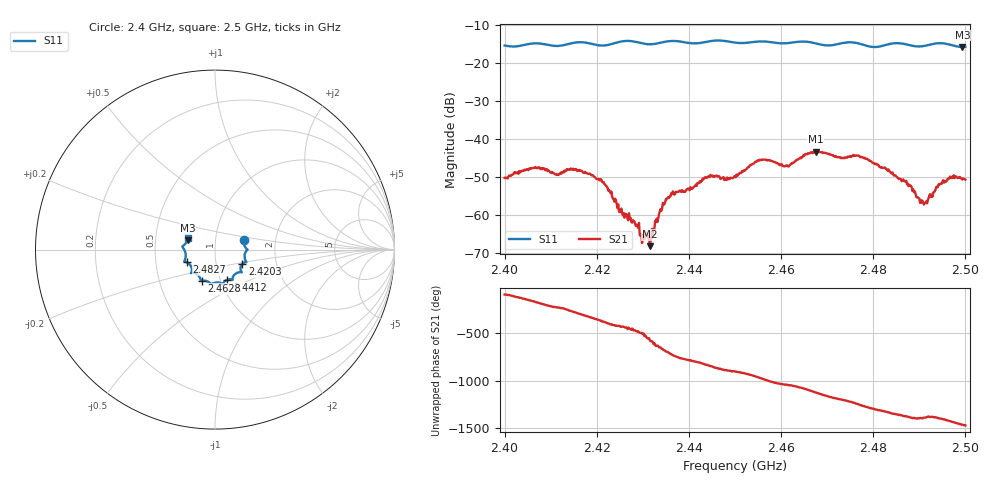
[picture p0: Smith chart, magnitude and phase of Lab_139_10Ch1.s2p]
# Hz S RI R 50
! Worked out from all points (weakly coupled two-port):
!   601 points, 2.4 GHz to 2.5 GHz, reference 50 ohm
!   highest |S21| = -43.27 dB at 2.4675 GHz (marker M1); lowest = -68.1 dB at 2.4315 GHz (marker M2)
!   lowest |S11| = -15.8 dB at 2.4993 GHz (marker M3), VSWR 1.39, Z = 36.5 + j4.06 ohm
!   |S11| at or under -10 dB: start of sweep to end of sweep
!   S12 and S22 are empty: the file has one direction only
!   S11 on the Smith chart (normalised r, x): 2.4 GHz: 1.38, +0.15; 2.4203 GHz: 1.34, -0.22; 2.4412 GHz: 1.08, -0.37; 2.4628 GHz: 0.82, -0.29; 2.4827 GHz: 0.72, -0.10; 2.5 GHz: 0.73, +0.10
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2.4e9  0.1614 0.0536  -0.00011 -0.00309  0 0  0 0
2.406333e9  0.1814 0.000613  -0.004 -0.00119  0 0  0 0
2.416667e9  0.1745 -0.0696  0.00192 0.0033  0 0  0 0
2.420333e9  0.152 -0.0788  0.00301 9.74e-05  0 0  0 0
2.429833e9  0.1303 -0.127  -0.000336 -0.000269  0 0  0 0
2.4315e9  0.1122 -0.1363  -0.000337 0.000201  0 0  0 0
2.433333e9  0.0998 -0.1523  2.99e-05 0.000895  0 0  0 0
2.436167e9  0.0981 -0.1685  0.00194 7.89e-05  0 0  0 0
2.441167e9  0.0687 -0.1676  0.00057 -0.00232  0 0  0 0
2.444667e9  0.0448 -0.1893  -0.00189 -0.00282  0 0  0 0
2.45e9  0.0248 -0.1842  -0.00329 9.04e-05  0 0  0 0
2.455333e9  -0.0174 -0.1916  -0.00203 0.00495  0 0  0 0
2.462833e9  -0.0718 -0.1733  0.00444 0.0022  0 0  0 0
2.466667e9  -0.0805 -0.1682  0.00588 -0.00311  0 0  0 0
2.4675e9  -0.0818 -0.162  0.00508 -0.00461  0 0  0 0
2.476833e9  -0.1308 -0.125  -0.00586 -0.00142  0 0  0 0
2.482667e9  -0.1578 -0.0704  -0.00184 0.00367  0 0  0 0
2.483333e9  -0.1632 -0.0683  -0.00129 0.00378  0 0  0 0
2.491167e9  -0.1684 -0.0063  0.000843 0.00116  0 0  0 0
2.494667e9  -0.1818 0.017  0.00193 0.00174  0 0  0 0
2.499333e9  -0.1531 0.0541  0.00276 -0.00103  0 0  0 0
2.5e9  -0.1507 0.0641  0.00256 -0.00144  0 0  0 0
